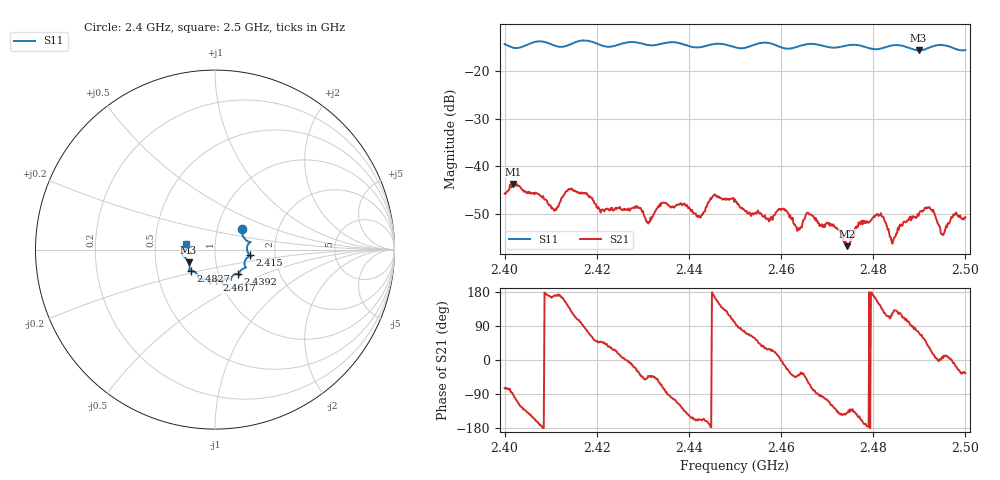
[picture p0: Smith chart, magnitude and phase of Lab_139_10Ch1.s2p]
# Hz S RI R 50
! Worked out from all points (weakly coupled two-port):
!   601 points, 2.4 GHz to 2.5 GHz, reference 50 ohm
!   highest |S21| = -43.68 dB at 2.4018 GHz (marker M1); lowest = -56.7 dB at 2.4743 GHz (marker M2)
!   lowest |S11| = -15.7 dB at 2.4898 GHz (marker M3), VSWR 1.39, Z = 36.9 - j5.41 ohm
!   |S11| at or under -10 dB: start of sweep to end of sweep
!   S12 and S22 are empty: the file has one direction only
!   S11 on the Smith chart (normalised r, x): 2.4 GHz: 1.31, +0.31; 2.415 GHz: 1.48, -0.10; 2.4392 GHz: 1.24, -0.35; 2.4617 GHz: 0.96, -0.34; 2.4827 GHz: 0.75, -0.18; 2.5 GHz: 0.72, +0.05
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2.4e9  0.1514 0.1151  0.00139 -0.00499  0 0  0 0
2.401833e9  0.1521 0.0858  -0.000126 -0.00654  0 0  0 0
2.410667e9  0.183 0.0266  -0.00345 0.000643  0 0  0 0
2.415e9  0.1933 -0.0317  -0.00268 0.00481  0 0  0 0
2.416667e9  0.2034 -0.0384  -0.000586 0.00532  0 0  0 0
2.431e9  0.15 -0.1105  0.0018 -0.00189  0 0  0 0
2.433333e9  0.1362 -0.1301  0.00218 -0.00314  0 0  0 0
2.439167e9  0.1283 -0.1355  -0.00283 -0.00276  0 0  0 0
2.442167e9  0.0996 -0.1448  -0.00281 -0.00114  0 0  0 0
2.4455e9  0.0884 -0.1689  -0.00496 0.00106  0 0  0 0
2.45e9  0.071 -0.1615  -0.000637 0.00446  0 0  0 0
2.461667e9  0.00808 -0.17  0.00278 -0.00155  0 0  0 0
2.464e9  -0.0202 -0.1806  0.00169 -0.00137  0 0  0 0
2.466667e9  -0.0269 -0.1896  0.00079 -0.00296  0 0  0 0
2.474333e9  -0.0818 -0.1651  -0.00111 -0.000948  0 0  0 0
2.477333e9  -0.091 -0.1589  -0.00245 -0.000975  0 0  0 0
2.482667e9  -0.132 -0.1174  -0.00133 0.00223  0 0  0 0
2.483333e9  -0.1378 -0.117  -0.000957 0.00197  0 0  0 0
2.489833e9  -0.1469 -0.0714  0.000875 0.0029  0 0  0 0
2.4925e9  -0.1732 -0.0384  0.0032 0.00149  0 0  0 0
2.495167e9  -0.1838 -0.0268  0.0019 0.000166  0 0  0 0
2.5e9  -0.1621 0.0317  0.00241 -0.00168  0 0  0 0
